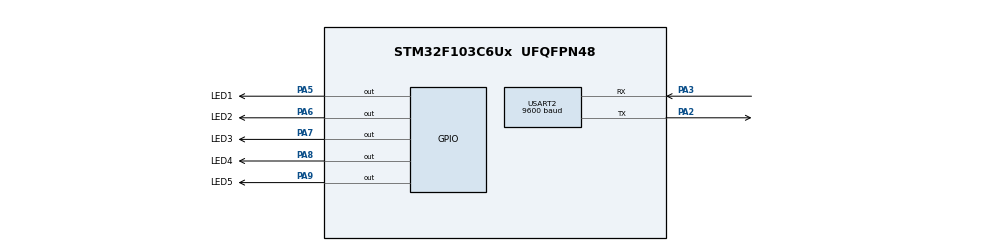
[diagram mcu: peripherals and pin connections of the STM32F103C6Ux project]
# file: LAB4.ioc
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Mcu.Family=STM32F1
Mcu.Name=STM32F103C6Ux
Mcu.Package=UFQFPN48
NVIC.PriorityGroup=NVIC_PRIORITYGROUP_4
NVIC.TIM2_IRQn=true\:0\:0\:false\:false\:true\:true\:true
NVIC.USART2_IRQn=true\:0\:0\:false\:false\:true\:true\:true
PA2.Mode=Asynchronous
PA2.Signal=USART2_TX
PA3.Mode=Asynchronous
PA3.Signal=USART2_RX
PA5.GPIO_Label=LED1
PA5.Signal=GPIO_Output
PA6.GPIO_Label=LED2
PA6.Signal=GPIO_Output
PA7.GPIO_Label=LED3
PA7.Signal=GPIO_Output
PA8.GPIO_Label=LED4
PA8.Signal=GPIO_Output
PA9.GPIO_Label=LED5
PA9.Signal=GPIO_Output
ProjectManager.HeapSize=0x200
ProjectManager.StackSize=0x400
ProjectManager.TargetToolchain=STM32CubeIDE
RCC.APB1Freq_Value=8000000
RCC.APB2Freq_Value=8000000
TIM2.Period=9
TIM2.Prescaler=7999
USART2.BaudRate=9600
USART2.VirtualMode=VM_ASYNC
VP_SYS_VS_ND.Mode=No_Debug
VP_TIM2_VS_ClockSourceINT.Mode=Internal
board=custom

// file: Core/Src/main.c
/* USER CODE BEGIN Header */
/**
  ******************************************************************************
  * @file           : main.c
  * @brief          : Main program body
  ******************************************************************************
  * @attention
  *
  * <h2><center>&copy; Copyright (c) 2023 STMicroelectronics.
  * All rights reserved.</center></h2>
  *
  * This software component is licensed by ST under BSD 3-Clause license,
  * the "License"; You may not use this file except in compliance with the
  * License. You may obtain a copy of the License at:
  *                        opensource.org/licenses/BSD-3-Clause
  *
  ******************************************************************************
  */
/* USER CODE END Header */
#include "main.h"

/* USER CODE BEGIN Includes */
#include "scheduler.h"
#include "Toggle_led.h"
#include "stdio.h"
/* USER CODE END Includes */

TIM_HandleTypeDef htim2;

UART_HandleTypeDef huart2;

void SystemClock_Config(void);
static void MX_GPIO_Init(void);
static void MX_TIM2_Init(void);
static void MX_USART2_UART_Init(void);

/* USER CODE BEGIN 0 */

uint8_t temp = 0;
uint32_t counter = 0;
char str[30];
void HAL_UART_RxCpltCallback ( UART_HandleTypeDef * huart ){
	if(huart -> Instance == USART2 ){
		HAL_UART_Receive_IT (& huart2 , &temp , 1);
	}
}
void increase_timer(){
	counter = counter + TICK;
}
void get_timer(){
	HAL_UART_Transmit (& huart2 , ( void *) str , sprintf (str , "!%ld#\n" , counter ), 50) ;
}

/* USER CODE END 0 */

int main(void)
{

  /* MCU Configuration--------------------------------------------------------*/

  /* Reset of all peripherals, Initializes the Flash interface and the Systick. */
  HAL_Init();

  /* Configure the system clock */
  SystemClock_Config();

  /* Initialize all configured peripherals */
  MX_GPIO_Init();
  MX_TIM2_Init();
  MX_USART2_UART_Init();
  /* USER CODE BEGIN 2 */
  HAL_TIM_Base_Start_IT (& htim2 );
  /* USER CODE END 2 */

  /* Infinite loop */
  SCH_Init();
  SCH_Add_Task(toggle_led1, 500, 500);
  SCH_Add_Task(toggle_led2, 1000, 1000);
  SCH_Add_Task(toggle_led3, 2000, 2000);
  SCH_Add_Task(toggle_led4, 4000, 4000);
  SCH_Add_Task(toggle_led5, 6000, 0);
  //SCH_Add_Task(get_timer, 1000, 1000);
  /* USER CODE BEGIN WHILE */
  while (1)
  {
	  SCH_Dispatch_Tasks();
    /* USER CODE END WHILE */

  }
}

void SystemClock_Config(void)
{
  RCC_OscInitTypeDef RCC_OscInitStruct = {0};
  RCC_ClkInitTypeDef RCC_ClkInitStruct = {0};

  /** Initializes the RCC Oscillators according to the specified parameters
  * in the RCC_OscInitTypeDef structure.
  */
  RCC_OscInitStruct.OscillatorType = RCC_OSCILLATORTYPE_HSI;
  RCC_OscInitStruct.HSIState = RCC_HSI_ON;
  RCC_OscInitStruct.HSICalibrationValue = RCC_HSICALIBRATION_DEFAULT;
  RCC_OscInitStruct.PLL.PLLState = RCC_PLL_NONE;
  if (HAL_RCC_OscConfig(&RCC_OscInitStruct) != HAL_OK)
  {
    Error_Handler();
  }
  /** Initializes the CPU, AHB and APB buses clocks
  */
  RCC_ClkInitStruct.ClockType = RCC_CLOCKTYPE_HCLK|RCC_CLOCKTYPE_SYSCLK
                              |RCC_CLOCKTYPE_PCLK1|RCC_CLOCKTYPE_PCLK2;
  RCC_ClkInitStruct.SYSCLKSource = RCC_SYSCLKSOURCE_HSI;
  RCC_ClkInitStruct.AHBCLKDivider = RCC_SYSCLK_DIV1;
  RCC_ClkInitStruct.APB1CLKDivider = RCC_HCLK_DIV1;
  RCC_ClkInitStruct.APB2CLKDivider = RCC_HCLK_DIV1;

  if (HAL_RCC_ClockConfig(&RCC_ClkInitStruct, FLASH_LATENCY_0) != HAL_OK)
  {
    Error_Handler();
  }
}

static void MX_TIM2_Init(void)
{

  TIM_ClockConfigTypeDef sClockSourceConfig = {0};
  TIM_MasterConfigTypeDef sMasterConfig = {0};

  htim2.Instance = TIM2;
  htim2.Init.Prescaler = 7999;
  htim2.Init.CounterMode = TIM_COUNTERMODE_UP;
  htim2.Init.Period = 9;
  htim2.Init.ClockDivision = TIM_CLOCKDIVISION_DIV1;
  htim2.Init.AutoReloadPreload = TIM_AUTORELOAD_PRELOAD_DISABLE;
  if (HAL_TIM_Base_Init(&htim2) != HAL_OK)
  {
    Error_Handler();
  }
  sClockSourceConfig.ClockSource = TIM_CLOCKSOURCE_INTERNAL;
  if (HAL_TIM_ConfigClockSource(&htim2, &sClockSourceConfig) != HAL_OK)
  {
    Error_Handler();
  }
  sMasterConfig.MasterOutputTrigger = TIM_TRGO_RESET;
  sMasterConfig.MasterSlaveMode = TIM_MASTERSLAVEMODE_DISABLE;
  if (HAL_TIMEx_MasterConfigSynchronization(&htim2, &sMasterConfig) != HAL_OK)
  {
    Error_Handler();
  }

}

static void MX_USART2_UART_Init(void)
{

  huart2.Instance = USART2;
  huart2.Init.BaudRate = 9600;
  huart2.Init.WordLength = UART_WORDLENGTH_8B;
  huart2.Init.StopBits = UART_STOPBITS_1;
  huart2.Init.Parity = UART_PARITY_NONE;
  huart2.Init.Mode = UART_MODE_TX_RX;
  huart2.Init.HwFlowCtl = UART_HWCONTROL_NONE;
  huart2.Init.OverSampling = UART_OVERSAMPLING_16;
  if (HAL_UART_Init(&huart2) != HAL_OK)
  {
    Error_Handler();
  }

}

static void MX_GPIO_Init(void)
{
  GPIO_InitTypeDef GPIO_InitStruct = {0};

  /* GPIO Ports Clock Enable */
  __HAL_RCC_GPIOA_CLK_ENABLE();

  /*Configure GPIO pin Output Level */
  HAL_GPIO_WritePin(GPIOA, LED1_Pin|LED2_Pin|LED3_Pin|LED4_Pin
                          |LED5_Pin, GPIO_PIN_RESET);

  /*Configure GPIO pins : LED1_Pin LED2_Pin LED3_Pin LED4_Pin
                           LED5_Pin */
  GPIO_InitStruct.Pin = LED1_Pin|LED2_Pin|LED3_Pin|LED4_Pin
                          |LED5_Pin;
  GPIO_InitStruct.Mode = GPIO_MODE_OUTPUT_PP;
  GPIO_InitStruct.Pull = GPIO_NOPULL;
  GPIO_InitStruct.Speed = GPIO_SPEED_FREQ_LOW;
  HAL_GPIO_Init(GPIOA, &GPIO_InitStruct);

}

/* USER CODE BEGIN 4 */
void HAL_TIM_PeriodElapsedCallback ( TIM_HandleTypeDef * htim ){
	SCH_Update();
	increase_timer();
	get_timer();
}
/* USER CODE END 4 */

void Error_Handler(void)
{
  __disable_irq();
  while (1)
  {
  }
}

/************************ (C) COPYRIGHT STMicroelectronics *****END OF FILE****/
